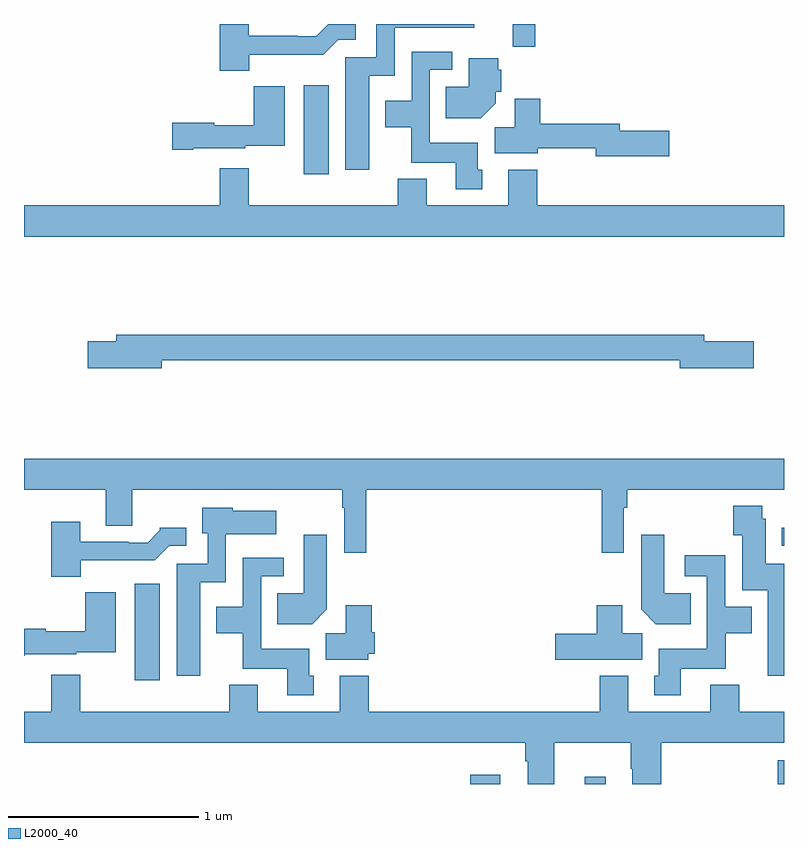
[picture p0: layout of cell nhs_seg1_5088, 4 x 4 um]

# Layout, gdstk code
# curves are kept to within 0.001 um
import gdstk
lib = gdstk.Library(unit=1e-6, precision=1e-09)
def R(c, l, rs):  # rectangles x0, y0, x1, y1
    for r in rs: c.add(gdstk.rectangle(r[:2], r[2:], *l))
def P(c, l, *ps):  # polygons
    for p in ps: c.add(gdstk.Polygon(p, *l))
L2000_40 = (2000, 40)

nhs_seg1_5088 = lib.new_cell('nhs_seg1_5088')
R(nhs_seg1_5088, L2000_40, [(389.348,534.199,389.506,534.247), (389.951,534.199,390.061,534.238), (390.967,534.199,391,534.324), (387.584,534.744,387.715,535.252), (390.989,535.452,391,535.549), (388.472,537.408,388.603,537.877), (389.573,538.08,389.69,538.199)])
P(nhs_seg1_5088, L2000_40, [(388.816,537.926),(388.95,537.926),(388.95,538.178),(389.371,538.178),(389.371,538.199),(388.854,538.199),(388.854,538.023),(388.691,538.023),(388.691,537.432),(388.816,537.432)],
  [(388.186,538.038),(388.575,538.038),(388.653,538.116),(388.747,538.116),(388.747,538.199),(388.602,538.199),(388.538,538.134),(388.439,538.134),(388.439,538.137),(388.183,538.137),(388.183,538.199),(388.031,538.199),(388.031,537.953),(388.186,537.953)],
  [(389.413,537.432),(389.389,537.432),(389.389,537.574),(389.136,537.574),(389.136,537.957),(389.254,537.957),(389.254,538.053),(389.04,538.053),(389.04,537.796),(388.901,537.796),(388.901,537.656),(389.038,537.656),(389.038,537.47),(389.273,537.47),(389.273,537.33),(389.413,537.33)],
  [(389.482,537.782),(389.482,537.843),(389.511,537.843),(389.511,537.957),(389.495,537.957),(389.495,538.018),(389.342,538.018),(389.342,537.868),(389.221,537.868),(389.221,537.704),(389.404,537.704)],
  [(387.892,537.545),(388.164,537.545),(388.164,537.557),(388.372,537.557),(388.372,537.871),(388.21,537.871),(388.21,537.667),(388.002,537.667),(388.002,537.68),(387.78,537.68),(387.78,537.538),(387.892,537.538)],
  [(390.397,537.638),(390.136,537.638),(390.136,537.674),(389.717,537.674),(389.717,537.805),(389.583,537.805),(389.583,537.656),(389.477,537.656),(389.477,537.518),(389.704,537.518),(389.704,537.546),(390.008,537.546),(390.008,537.503),(390.397,537.503)],
  [(391,537.244),(389.702,537.244),(389.702,537.433),(389.549,537.433),(389.549,537.244),(389.119,537.244),(389.119,537.385),(388.967,537.385),(388.967,537.244),(388.183,537.244),(388.183,537.439),(388.031,537.439),(388.031,537.244),(387,537.244),(387,537.08),(391,537.08)],
  [(387.724,536.428),(390.452,536.428),(390.452,536.386),(390.841,536.386),(390.841,536.528),(390.58,536.528),(390.58,536.564),(387.485,536.564),(387.485,536.528),(387.336,536.528),(387.336,536.386),(387.724,536.386)],
  [(388.802,535.748),(390.04,535.748),(390.04,535.416),(390.156,535.416),(390.156,535.652),(390.176,535.652),(390.176,535.748),(391,535.748),(391,535.912),(387,535.912),(387,535.748),(387.431,535.748),(387.431,535.558),(387.571,535.558),(387.571,535.748),(388.674,535.748),(388.674,535.652),(388.686,535.652),(388.686,535.416),(388.802,535.416)],
  [(391,535.359),(390.904,535.359),(390.904,535.596),(390.885,535.596),(390.885,535.663),(390.733,535.663),(390.733,535.507),(390.779,535.507),(390.779,535.22),(390.914,535.22),(390.914,534.768),(391,534.768)],
  [(387.928,535.262),(388.062,535.262),(388.062,535.514),(388.327,535.514),(388.327,535.636),(388.098,535.636),(388.098,535.654),(387.938,535.654),(387.938,535.518),(387.966,535.518),(387.966,535.359),(387.803,535.359),(387.803,534.768),(387.928,534.768)],
  [(387.298,535.376),(387.689,535.376),(387.765,535.452),(387.853,535.452),(387.853,535.549),(387.714,535.549),(387.714,535.534),(387.65,535.47),(387.551,535.47),(387.551,535.473),(387.295,535.473),(387.295,535.579),(387.143,535.579),(387.143,535.289),(387.298,535.289)],
  [(390.509,535.204),(390.37,535.204),(390.37,535.51),(390.248,535.51),(390.248,535.118),(390.326,535.04),(390.509,535.04)],
  [(388.594,535.118),(388.594,535.51),(388.472,535.51),(388.472,535.204),(388.333,535.204),(388.333,535.04),(388.516,535.04)],
  [(390.457,534.806),(390.693,534.806),(390.693,534.992),(390.829,534.992),(390.829,535.132),(390.69,535.132),(390.69,535.402),(390.477,535.402),(390.477,535.293),(390.594,535.293),(390.594,534.91),(390.341,534.91),(390.341,534.768),(390.317,534.768),(390.317,534.666),(390.457,534.666)],
  [(388.525,534.768),(388.501,534.768),(388.501,534.91),(388.248,534.91),(388.248,535.293),(388.366,535.293),(388.366,535.389),(388.152,535.389),(388.152,535.132),(388.013,535.132),(388.013,534.992),(388.15,534.992),(388.15,534.806),(388.385,534.806),(388.385,534.666),(388.525,534.666)],
  [(387.004,534.881),(387.276,534.881),(387.276,534.893),(387.484,534.893),(387.484,535.207),(387.322,535.207),(387.322,535.003),(387.114,535.003),(387.114,535.016),(387,535.016),(387,534.874),(387.004,534.874)],
  [(390.253,534.992),(390.148,534.992),(390.148,535.141),(390.014,535.141),(390.014,534.989),(389.796,534.989),(389.796,534.854),(390.253,534.854)],
  [(388.812,534.885),(388.847,534.885),(388.847,534.999),(388.829,534.999),(388.829,535.141),(388.694,535.141),(388.694,534.992),(388.589,534.992),(388.589,534.854),(388.812,534.854)],
  [(389.791,534.416),(390.193,534.416),(390.193,534.278),(390.2,534.278),(390.2,534.199),(390.353,534.199),(390.353,534.416),(391,534.416),(391,534.58),(390.764,534.58),(390.764,534.721),(390.611,534.721),(390.611,534.58),(390.181,534.58),(390.181,534.769),(390.029,534.769),(390.029,534.58),(388.814,534.58),(388.814,534.769),(388.661,534.769),(388.661,534.58),(388.231,534.58),(388.231,534.721),(388.079,534.721),(388.079,534.58),(387.295,534.58),(387.295,534.775),(387.143,534.775),(387.143,534.58),(387,534.58),(387,534.416),(389.639,534.416),(389.639,534.32),(389.651,534.32),(389.651,534.199),(389.791,534.199)])

lib.write_gds('nhs_seg1_5088.gds')
